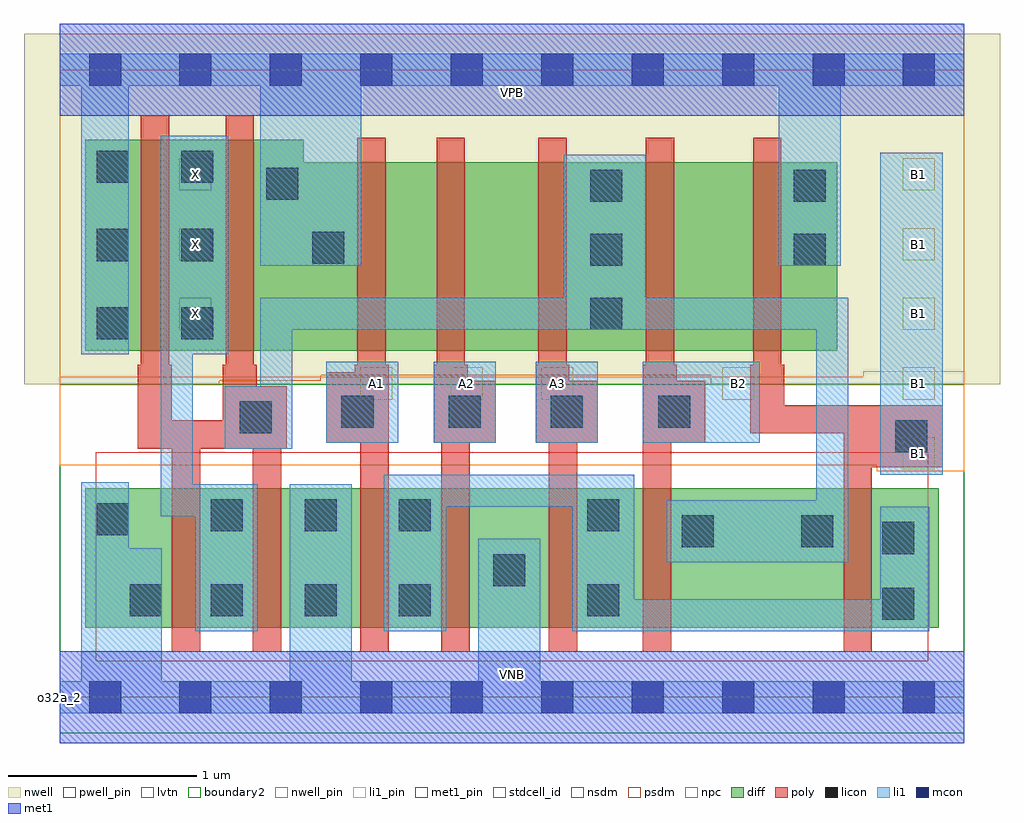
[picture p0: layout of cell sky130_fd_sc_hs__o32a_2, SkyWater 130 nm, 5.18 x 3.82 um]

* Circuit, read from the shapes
.subckt sky130_fd_sc_hs__o32a_2 A1 A2 A3 B1 B2 VGND VNB VPB VPWR X
XM1 X n1 VGND VNB sky130_fd_pr__nfet_01v8_lvt w=0.74 l=0.15 m=2
XM2 n2 A1 VGND VNB sky130_fd_pr__nfet_01v8_lvt w=0.74 l=0.15
XM3 VGND A2 n2 VNB sky130_fd_pr__nfet_01v8_lvt w=0.74 l=0.15
XM4 n2 A3 VGND VNB sky130_fd_pr__nfet_01v8_lvt w=0.74 l=0.15
XM5 n1 B2 n2 VNB sky130_fd_pr__nfet_01v8_lvt w=0.74 l=0.15
XM6 n2 B1 n1 VNB sky130_fd_pr__nfet_01v8_lvt w=0.74 l=0.15
XM7 X n1 VPWR VPB sky130_fd_pr__pfet_01v8 w=1.12 l=0.15 m=2
XM8 n3 A1 VPWR VPB sky130_fd_pr__pfet_01v8 w=1 l=0.15
XM9 n4 A2 n3 VPB sky130_fd_pr__pfet_01v8 w=1 l=0.15
XM10 n1 A3 n4 VPB sky130_fd_pr__pfet_01v8 w=1 l=0.15
XM11 n5 B2 n1 VPB sky130_fd_pr__pfet_01v8 w=1 l=0.15
XM12 VPWR B1 n5 VPB sky130_fd_pr__pfet_01v8 w=1 l=0.15
.ends

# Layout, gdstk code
import gdstk
lib = gdstk.Library(unit=1e-6, precision=1e-09)
def R(c, l, rs):  # rectangles x0, y0, x1, y1
    for r in rs: c.add(gdstk.rectangle(r[:2], r[2:], *l))
def A(c, l, x, y, w, h, nx, ny, dx, dy):  # array of equal rectangles
    R(c, l, [(x+i*dx, y+j*dy, x+i*dx+w, y+j*dy+h) for i in range(nx) for j in range(ny)])
def P(c, l, *ps):  # polygons
    for p in ps: c.add(gdstk.Polygon(p, *l))
nwell_pin = (64, 16)
nwell = (64, 20)
diff = (65, 20)
poly = (66, 20)
licon = (66, 44)
li1_pin = (67, 16)
li1 = (67, 20)
mcon = (67, 44)
met1_pin = (68, 16)
met1 = (68, 20)
stdcell_id = (81, 4)
nsdm = (93, 44)
psdm = (94, 20)
npc = (95, 20)
pwell_pin = (122, 16)
lvtn = (125, 44)
boundary2 = (236, 0)

sky130_fd_sc_hs__o32a_2 = lib.new_cell('sky130_fd_sc_hs__o32a_2')
R(sky130_fd_sc_hs__o32a_2, nwell_pin, [(0,3.085,4.8,3.33)])
R(sky130_fd_sc_hs__o32a_2, nwell, [(-0.19,1.66,4.99,3.52)])
R(sky130_fd_sc_hs__o32a_2, diff, [(0.135,0.37,4.665,1.11)])
P(sky130_fd_sc_hs__o32a_2, diff, [(4.125,2.84),(1.295,2.84),(1.295,2.96),(0.135,2.96),(0.135,1.84),(4.125,1.84)])
P(sky130_fd_sc_hs__o32a_2, poly, [(4.685,1.55),(3.845,1.55),(3.845,1.765),(3.83,1.765),(3.83,2.97),(3.68,2.97),(3.68,1.765),(3.665,1.765),(3.665,1.4),(4.16,1.4),(4.16,0.24),(4.31,0.24),(4.31,1.22),(4.685,1.22)],
  [(3.425,1.68),(3.275,1.68),(3.275,1.765),(3.26,1.765),(3.26,2.97),(3.11,2.97),(3.11,1.765),(3.095,1.765),(3.095,0.24),(3.245,0.24),(3.245,1.35),(3.425,1.35)],
  [(2.855,1.68),(2.705,1.68),(2.705,1.765),(2.69,1.765),(2.69,2.97),(2.54,2.97),(2.54,1.765),(2.525,1.765),(2.525,1.35),(2.595,1.35),(2.595,0.24),(2.745,0.24),(2.745,1.35),(2.855,1.35)],
  [(2.315,1.68),(2.165,1.68),(2.165,1.765),(2.15,1.765),(2.15,2.97),(2,2.97),(2,1.765),(1.985,1.765),(1.985,1.35),(2.025,1.35),(2.025,0.24),(2.175,0.24),(2.175,1.35),(2.315,1.35)],
  [(1.745,1.765),(1.73,1.765),(1.73,2.97),(1.58,2.97),(1.58,1.765),(1.565,1.765),(1.565,1.725),(1.415,1.725),(1.415,1.35),(1.595,1.35),(1.595,0.24),(1.745,0.24)],
  [(1.205,1.65),(1.045,1.65),(1.045,1.765),(1.03,1.765),(1.03,3.09),(0.88,3.09),(0.88,1.765),(0.865,1.765),(0.865,1.47),(0.595,1.47),(0.595,1.765),(0.58,1.765),(0.58,3.09),(0.43,3.09),(0.43,1.765),(0.415,1.765),(0.415,1.32),(0.595,1.32),(0.595,0.24),(0.745,0.24),(0.745,1.32),(1.025,1.32),(1.025,0.24),(1.175,0.24),(1.175,1.32),(1.205,1.32)])
A(sky130_fd_sc_hs__o32a_2, licon, 0.8, 0.43, 0.17, 0.17, 3, 2, 0.5, 0.45)
A(sky130_fd_sc_hs__o32a_2, licon, 0.195, 1.9, 0.17, 0.17, 1, 3, 0, 0.415)
A(sky130_fd_sc_hs__o32a_2, licon, 0.645, 1.9, 0.17, 0.17, 1, 3, 0, 0.415)
A(sky130_fd_sc_hs__o32a_2, licon, 2.815, 1.95, 0.17, 0.17, 1, 3, 0, 0.34)
R(sky130_fd_sc_hs__o32a_2, licon, [(4.365,0.41,4.535,0.58), (0.37,0.43,0.54,0.6), (2.8,0.43,2.97,0.6), (2.3,0.59,2.47,0.76), (4.365,0.76,4.535,0.93), (3.3,0.795,3.47,0.965), (3.935,0.795,4.105,0.965), (0.195,0.86,0.365,1.03), (2.8,0.88,2.97,1.05), (4.435,1.3,4.605,1.47), (0.955,1.4,1.125,1.57), (1.495,1.43,1.665,1.6), (2.065,1.43,2.235,1.6), (2.605,1.43,2.775,1.6), (3.175,1.43,3.345,1.6), (3.895,2.29,4.065,2.46), (1.34,2.3,1.51,2.47), (3.895,2.63,4.065,2.8), (1.095,2.64,1.265,2.81)])
A(sky130_fd_sc_hs__o32a_2, li1_pin, 4.475, 1.21, 0.17, 0.17, 1, 5, 0, 0.37)
A(sky130_fd_sc_hs__o32a_2, li1_pin, 1.595, 1.58, 0.17, 0.17, 3, 1, 0.48, 0)
A(sky130_fd_sc_hs__o32a_2, li1_pin, 0.635, 1.95, 0.17, 0.17, 1, 3, 0, 0.37)
R(sky130_fd_sc_hs__o32a_2, li1_pin, [(3.515,1.58,3.685,1.75)])
R(sky130_fd_sc_hs__o32a_2, li1, [(4.355,1.18,4.685,2.89), (1.415,1.35,1.795,1.78), (1.985,1.35,2.315,1.78), (2.525,1.35,2.855,1.78), (3.095,1.35,3.715,1.78)])
P(sky130_fd_sc_hs__o32a_2, li1, [(4.8,0.085),(2.55,0.085),(2.55,0.84),(2.22,0.84),(2.22,0.085),(1.55,0.085),(1.55,1.13),(1.22,1.13),(1.22,0.085),(0.54,0.085),(0.54,0.79),(0.365,0.79),(0.365,1.14),(0.115,1.14),(0.115,0.085),(0,0.085),(0,-0.085),(4.8,-0.085)],
  [(0,3.245),(0,3.415),(4.8,3.415),(4.8,3.245),(4.145,3.245),(4.145,2.29),(3.815,2.29),(3.815,3.245),(1.6,3.245),(1.6,2.29),(1.065,2.29),(1.065,3.245),(0.365,3.245),(0.365,1.82),(0.115,1.82),(0.115,3.245)],
  [(0.895,2.98),(0.895,1.82),(0.705,1.82),(0.705,1.13),(1.05,1.13),(1.05,0.35),(0.72,0.35),(0.72,0.96),(0.535,0.96),(0.535,2.98)],
  [(1.065,2.12),(2.675,2.12),(2.675,2.88),(3.11,2.88),(3.11,2.12),(4.185,2.12),(4.185,0.715),(3.22,0.715),(3.22,1.045),(4.015,1.045),(4.015,1.95),(1.235,1.95),(1.235,1.32),(0.875,1.32),(0.875,1.65),(1.065,1.65)],
  [(3.05,0.52),(4.355,0.52),(4.355,1.01),(4.615,1.01),(4.615,0.35),(2.72,0.35),(2.72,1.01),(2.05,1.01),(2.05,0.35),(1.72,0.35),(1.72,1.18),(3.05,1.18)])
A(sky130_fd_sc_hs__o32a_2, mcon, 0.155, -0.085, 0.17, 0.17, 10, 2, 0.48, 3.33)
R(sky130_fd_sc_hs__o32a_2, met1_pin, [(0,0,4.8,0.245), (0,3.085,4.8,3.33)])
R(sky130_fd_sc_hs__o32a_2, met1, [(0,-0.245,4.8,0.245), (0,3.085,4.8,3.575)])
R(sky130_fd_sc_hs__o32a_2, stdcell_id, [(0,0,4.8,3.33)])
R(sky130_fd_sc_hs__o32a_2, nsdm, [(0,-0.19,4.8,1.66)])
P(sky130_fd_sc_hs__o32a_2, psdm, [(4.8,3.52),(0,3.52),(0,1.66),(0.845,1.66),(0.845,1.68),(1.385,1.68),(1.385,1.71),(3.455,1.71),(3.455,1.66),(4.8,1.66)])
P(sky130_fd_sc_hs__o32a_2, npc, [(4.8,1.73),(4.265,1.73),(4.265,1.7),(0,1.7),(0,1.23),(4.335,1.23),(4.335,1.2),(4.8,1.2)])
R(sky130_fd_sc_hs__o32a_2, pwell_pin, [(0,0,4.8,0.245)])
R(sky130_fd_sc_hs__o32a_2, lvtn, [(0.19,0.19,4.61,1.3)])
R(sky130_fd_sc_hs__o32a_2, boundary2, [(0,0,4.8,3.33)])
sky130_fd_sc_hs__o32a_2.add(gdstk.Label('o32a_2', (0,0), layer=83, texttype=44))
sky130_fd_sc_hs__o32a_2.add(gdstk.Label('VNB', (2.4,0.123), layer=64, texttype=59))
sky130_fd_sc_hs__o32a_2.add(gdstk.Label('VPB', (2.4,3.208), layer=64, texttype=5))
sky130_fd_sc_hs__o32a_2.add(gdstk.Label('VPWR', (2.4,3.208), layer=68, texttype=5))
sky130_fd_sc_hs__o32a_2.add(gdstk.Label('VGND', (2.4,0.123), layer=68, texttype=5))
sky130_fd_sc_hs__o32a_2.add(gdstk.Label('A1', (1.68,1.665), layer=67, texttype=5))
sky130_fd_sc_hs__o32a_2.add(gdstk.Label('A2', (2.16,1.665), layer=67, texttype=5))
sky130_fd_sc_hs__o32a_2.add(gdstk.Label('A3', (2.64,1.665), layer=67, texttype=5))
sky130_fd_sc_hs__o32a_2.add(gdstk.Label('B1', (4.56,1.295), layer=67, texttype=5))
sky130_fd_sc_hs__o32a_2.add(gdstk.Label('B1', (4.56,1.665), layer=67, texttype=5))
sky130_fd_sc_hs__o32a_2.add(gdstk.Label('B1', (4.56,2.035), layer=67, texttype=5))
sky130_fd_sc_hs__o32a_2.add(gdstk.Label('B1', (4.56,2.405), layer=67, texttype=5))
sky130_fd_sc_hs__o32a_2.add(gdstk.Label('B1', (4.56,2.775), layer=67, texttype=5))
sky130_fd_sc_hs__o32a_2.add(gdstk.Label('B2', (3.6,1.665), layer=67, texttype=5))
sky130_fd_sc_hs__o32a_2.add(gdstk.Label('X', (0.72,2.035), layer=67, texttype=5))
sky130_fd_sc_hs__o32a_2.add(gdstk.Label('X', (0.72,2.405), layer=67, texttype=5))
sky130_fd_sc_hs__o32a_2.add(gdstk.Label('X', (0.72,2.775), layer=67, texttype=5))

lib.write_gds('sky130_fd_sc_hs__o32a_2.gds')
